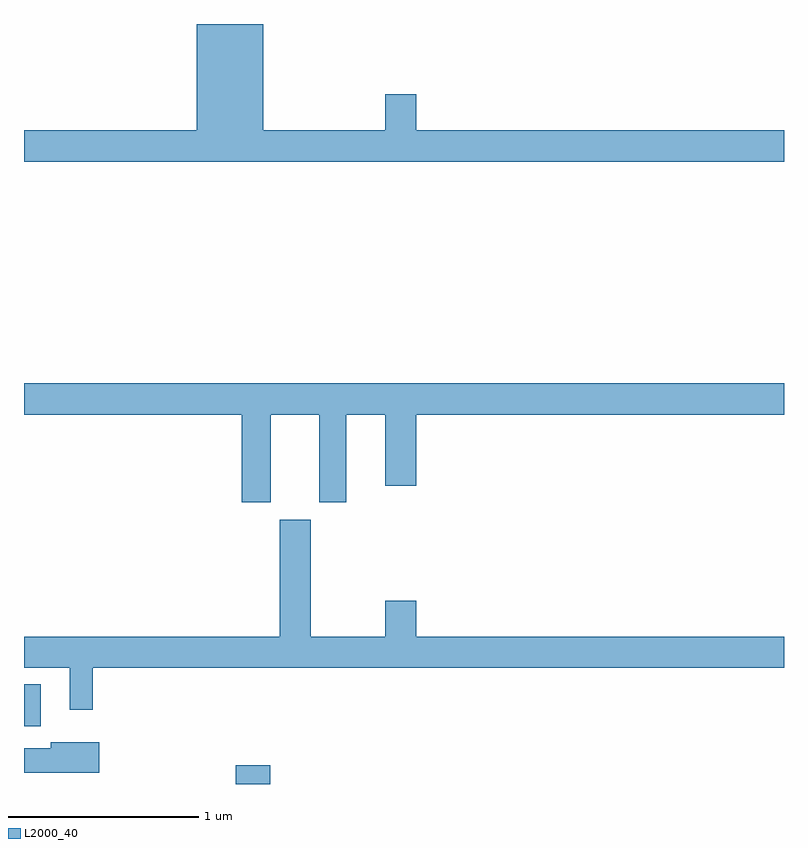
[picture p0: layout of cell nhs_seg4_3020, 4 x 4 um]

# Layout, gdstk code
import gdstk
lib = gdstk.Library(unit=1e-6, precision=1e-09)
def R(c, l, rs):  # rectangles x0, y0, x1, y1
    for r in rs: c.add(gdstk.rectangle(r[:2], r[2:], *l))
def P(c, l, *ps):  # polygons
    for p in ps: c.add(gdstk.Polygon(p, *l))
L2000_40 = (2000, 40)

nhs_seg4_3020 = lib.new_cell('nhs_seg4_3020')
R(nhs_seg4_3020, L2000_40, [(272.114,770.9,272.297,770.998), (271,771.203,271.087,771.424)])
P(nhs_seg4_3020, L2000_40, [(275,774.34),(273.064,774.34),(273.064,774.529),(272.9,774.529),(272.9,774.34),(272.26,774.34),(272.26,774.9),(271.91,774.9),(271.91,774.34),(271,774.34),(271,774.176),(275,774.176)],
  [(272.299,772.844),(272.555,772.844),(272.555,772.383),(272.695,772.383),(272.695,772.844),(272.9,772.844),(272.9,772.47),(273.064,772.47),(273.064,772.844),(275,772.844),(275,773.008),(271,773.008),(271,772.844),(272.147,772.844),(272.147,772.383),(272.299,772.383)],
  [(271.363,771.512),(275,771.512),(275,771.676),(273.064,771.676),(273.064,771.865),(272.9,771.865),(272.9,771.676),(272.509,771.676),(272.509,772.291),(272.345,772.291),(272.345,771.676),(271,771.676),(271,771.512),(271.241,771.512),(271.241,771.291),(271.363,771.291)],
  [(271.396,771.121),(271.142,771.121),(271.142,771.089),(271,771.089),(271,770.96),(271.396,770.96)])

lib.write_gds('nhs_seg4_3020.gds')
